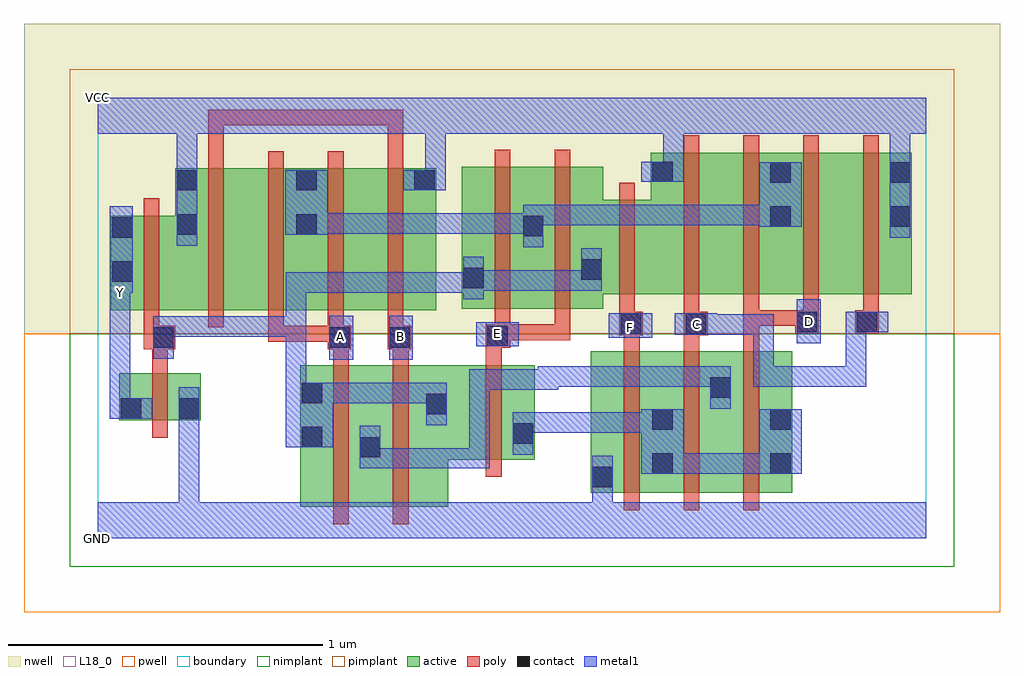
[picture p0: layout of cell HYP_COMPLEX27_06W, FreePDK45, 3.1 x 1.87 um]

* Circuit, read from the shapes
.subckt HYP_COMPLEX27_06W A B C D E F GND VCC Y
M1 GND n1 Y VSUBS nfet w=0.15u l=0.05u
M2 n2 A n1 VSUBS nfet w=0.45u l=0.05u
M3 n1 B n2 VSUBS nfet w=0.45u l=0.05u
M4 n3 E n1 VSUBS nfet w=0.3u l=0.05u
M5 n3 F GND VSUBS nfet w=0.45u l=0.05u
M6 n2 C n3 VSUBS nfet w=0.45u l=0.05u
M7 n3 D n2 VSUBS nfet w=0.45u l=0.05u
M8 VCC n1 Y n4 pfet w=0.3u l=0.05u
M9 n5 B VCC n4 pfet w=0.45u l=0.05u
M10 n6 A n5 n4 pfet w=0.45u l=0.05u
M11 n7 A n6 n4 pfet w=0.45u l=0.05u
M12 VCC B n7 n4 pfet w=0.45u l=0.05u
M13 n6 E n1 n4 pfet w=0.45u l=0.05u m=2
M14 VCC F n1 n4 pfet w=0.3u l=0.05u
M15 n8 C VCC n4 pfet w=0.45u l=0.05u
M16 n6 D n8 n4 pfet w=0.45u l=0.05u
M17 n9 D n6 n4 pfet w=0.45u l=0.05u
M18 VCC C n9 n4 pfet w=0.45u l=0.05u
.ends

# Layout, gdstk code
import gdstk
lib = gdstk.Library(unit=1e-6, precision=1e-09)
def R(c, l, rs):  # rectangles x0, y0, x1, y1
    for r in rs: c.add(gdstk.rectangle(r[:2], r[2:], *l))
def A(c, l, x, y, w, h, nx, ny, dx, dy):  # array of equal rectangles
    R(c, l, [(x+i*dx, y+j*dy, x+i*dx+w, y+j*dy+h) for i in range(nx) for j in range(ny)])
active = (1, 0)
pwell = (2, 0)
nwell = (3, 0)
nimplant = (4, 0)
pimplant = (5, 0)
poly = (9, 0)
contact = (10, 0)
metal1 = (11, 0)
L18_0 = (18, 0)
boundary = (235, 0)

hyp_complex27_06w = lib.new_cell('HYP_COMPLEX27_06W')
R(hyp_complex27_06w, active, [(0.642,0.1,0.902,0.55), (0.827,0.1,1.112,0.55), (0.642,0.145,0.717,0.55), (0.827,0.145,0.902,0.542), (1.565,0.145,1.64,0.595), (1.565,0.145,1.83,0.595), (1.755,0.145,1.83,0.542), (1.755,0.145,2.015,0.595), (1.94,0.145,2.205,0.595), (1.94,0.145,2.015,0.542), (2.13,0.145,2.205,0.595), (1.037,0.25,1.387,0.55), (1.312,0.25,1.387,0.55), (1.037,0.295,1.112,0.465), (0.067,0.375,0.142,0.525), (0.067,0.375,0.327,0.525), (0.252,0.375,0.327,0.525), (0.04,0.725,0.115,1.025), (0.04,0.725,0.32,1.025), (0.245,0.725,0.32,1.175), (0.245,0.725,0.47,1.175), (0.47,0.725,0.7,1.175), (0.625,0.725,0.85,1.175), (0.85,0.725,1.075,1.175), (1.155,0.73,1.42,1.18), (1.155,0.73,1.23,1.047), (1.345,0.73,1.605,1.18), (0.625,0.732,0.7,1.175), (1.53,0.775,1.83,1.075), (1.755,0.775,1.98,1.225), (1.98,0.775,2.205,1.225), (2.13,0.775,2.36,1.225), (2.13,0.775,2.205,1.2), (2.36,0.775,2.585,1.225), (2.51,0.775,2.585,1.225), (1.53,0.817,1.605,1.07), (1,0.857,1.075,1.175), (1.345,0.857,1.42,1.155), (1.755,0.86,1.83,1.202)])
R(hyp_complex27_06w, pwell, [(-0.235,-0.235,2.865,0.65)])
R(hyp_complex27_06w, nwell, [(-0.235,0.65,2.865,1.635)])
R(hyp_complex27_06w, nimplant, [(-0.09,-0.09,2.72,0.65)])
R(hyp_complex27_06w, pimplant, [(-0.09,0.65,2.72,1.49)])
A(hyp_complex27_06w, poly, 1.67, 0.09, 0.05, 0.56, 3, 1, 0.19, 0)
A(hyp_complex27_06w, poly, 0.54, 0.625, 0.05, 0.095, 3, 1, 0.19, 0)
A(hyp_complex27_06w, poly, 0.35, 0.67, 0.05, 0.56, 4, 1, 0.19, 0)
A(hyp_complex27_06w, poly, 2.05, 0.675, 0.05, 0.095, 3, 1, 0.19, 0)
A(hyp_complex27_06w, poly, 1.86, 0.72, 0.05, 0.56, 4, 1, 0.19, 0)
R(hyp_complex27_06w, poly, [(0.747,0.045,0.797,0.605), (0.937,0.045,0.987,0.605), (1.232,0.195,1.282,0.605), (0.172,0.32,0.222,0.58), (0.172,0.53,0.222,0.65), (0.747,0.555,0.797,0.65), (0.937,0.555,0.987,0.65), (1.232,0.555,1.282,0.655), (0.145,0.6,0.245,0.675), (0.73,0.6,0.805,0.675), (0.92,0.6,0.995,0.675), (1.67,0.6,1.72,0.695), (1.86,0.6,1.91,0.695), (2.05,0.6,2.1,0.725), (1.232,0.605,1.31,0.68), (0.145,0.625,0.195,0.72), (0.54,0.625,0.59,0.675), (0.54,0.625,0.59,0.675), (0.54,0.625,0.59,0.675), (0.54,0.625,0.78,0.675), (1.26,0.63,1.31,0.725), (1.26,0.63,1.31,0.68), (1.26,0.63,1.31,0.68), (1.26,0.63,1.5,0.68), (1.45,0.63,1.5,0.725), (1.45,0.63,1.5,0.68), (1.655,0.645,1.73,0.72), (1.86,0.645,1.937,0.72), (2.215,0.65,2.29,0.725), (2.405,0.65,2.48,0.725), (0.145,0.67,0.195,1.08), (1.655,0.67,1.705,0.77), (1.86,0.67,1.91,0.77), (1.26,0.675,1.31,1.235), (1.45,0.675,1.5,1.235), (2.05,0.675,2.265,0.725), (2.05,0.675,2.1,0.725), (2.05,0.675,2.1,0.725), (2.05,0.675,2.1,0.725), (1.655,0.72,1.705,1.13), (0.35,1.18,0.4,1.362), (0.92,1.18,0.97,1.362), (0.35,1.312,0.4,1.362), (0.35,1.312,0.4,1.362), (0.35,1.312,0.4,1.362), (0.35,1.312,0.59,1.362), (0.54,1.312,0.59,1.362), (0.54,1.312,0.59,1.362), (0.54,1.312,0.59,1.362), (0.54,1.312,0.722,1.362), (0.672,1.312,0.722,1.362), (0.672,1.312,0.97,1.362), (0.92,1.312,0.97,1.362), (0.92,1.312,0.97,1.362), (0.92,1.312,0.97,1.362)])
R(hyp_complex27_06w, contact, [(1.57,0.162,1.635,0.227), (1.76,0.205,1.825,0.27), (2.135,0.205,2.2,0.27), (0.832,0.257,0.897,0.322), (0.647,0.29,0.712,0.355), (1.317,0.3,1.382,0.365), (1.76,0.345,1.825,0.41), (2.135,0.345,2.2,0.41), (0.072,0.38,0.137,0.445), (0.257,0.38,0.322,0.445), (1.042,0.395,1.107,0.46), (0.647,0.43,0.712,0.495), (1.945,0.447,2.01,0.512), (0.175,0.605,0.24,0.67), (0.735,0.605,0.8,0.67), (0.925,0.605,0.99,0.67), (1.237,0.61,1.302,0.675), (1.66,0.65,1.725,0.715), (1.867,0.65,1.932,0.715), (2.22,0.655,2.285,0.72), (2.41,0.655,2.475,0.72), (1.16,0.795,1.225,0.86), (0.045,0.815,0.11,0.88), (1.535,0.822,1.6,0.887), (0.045,0.955,0.11,1.02), (1.35,0.96,1.415,1.025), (0.25,0.965,0.315,1.03), (0.63,0.965,0.695,1.03), (2.135,0.99,2.2,1.055), (2.515,0.99,2.58,1.055), (0.25,1.105,0.315,1.17), (0.63,1.105,0.695,1.17), (1.005,1.105,1.07,1.17), (2.135,1.13,2.2,1.195), (2.515,1.13,2.58,1.195), (1.76,1.132,1.825,1.197)])
R(hyp_complex27_06w, metal1, [(0,0,2.63,0.115), (0.257,0.05,0.322,0.115), (0.257,0.05,0.322,0.115), (0.257,0.05,0.322,0.115), (0.257,0.05,0.322,0.115), (0.257,0.05,0.322,0.115), (0.257,0.05,0.322,0.115), (0.257,0.05,0.322,0.41), (1.57,0.05,1.635,0.115), (1.57,0.05,1.635,0.115), (1.57,0.05,1.635,0.192), (1.57,0.127,1.635,0.262), (1.725,0.205,1.86,0.41), (1.795,0.205,1.997,0.27), (1.932,0.205,1.997,0.27), (1.932,0.205,1.997,0.27), (1.932,0.205,1.997,0.27), (1.932,0.205,2.147,0.27), (2.082,0.205,2.147,0.27), (2.082,0.205,2.165,0.27), (2.1,0.205,2.235,0.41), (0.832,0.222,0.897,0.287), (0.832,0.222,0.897,0.287), (0.832,0.222,1.035,0.287), (0.832,0.222,0.897,0.357), (0.97,0.222,1.035,0.287), (0.97,0.222,1.245,0.287), (1.18,0.222,1.245,0.287), (1.18,0.222,1.245,0.537), (1.317,0.265,1.382,0.4), (0.597,0.29,0.747,0.495), (1.317,0.335,1.382,0.4), (1.317,0.335,1.382,0.4), (1.317,0.335,1.6,0.4), (1.535,0.335,1.6,0.4), (1.535,0.335,1.6,0.4), (1.535,0.335,1.6,0.4), (1.535,0.335,1.79,0.4), (0.257,0.345,0.322,0.48), (1.042,0.36,1.107,0.495), (0.037,0.38,0.172,0.445), (0.037,0.38,0.102,0.777), (1.945,0.412,2.01,0.547), (0.597,0.43,0.662,0.705), (0.682,0.43,0.76,0.495), (0.695,0.43,0.76,0.495), (0.695,0.43,0.897,0.495), (0.832,0.43,0.897,0.495), (0.832,0.43,0.897,0.495), (0.832,0.43,0.897,0.495), (0.832,0.43,1.107,0.495), (1.18,0.472,1.245,0.537), (1.18,0.472,1.245,0.537), (1.18,0.472,1.245,0.537), (1.18,0.472,1.462,0.537), (1.397,0.472,1.462,0.547), (1.397,0.482,1.462,0.547), (1.397,0.482,1.462,0.547), (1.397,0.482,1.652,0.547), (1.587,0.482,1.652,0.547), (1.587,0.482,1.652,0.547), (1.587,0.482,1.652,0.547), (1.587,0.482,1.79,0.547), (1.725,0.482,1.79,0.547), (1.725,0.482,1.79,0.547), (1.725,0.482,1.79,0.547), (1.725,0.482,2.01,0.547), (2.082,0.482,2.147,0.547), (2.082,0.482,2.302,0.547), (2.082,0.482,2.147,0.712), (2.237,0.482,2.302,0.547), (2.237,0.482,2.44,0.547), (2.375,0.482,2.44,0.547), (2.375,0.482,2.44,0.72), (0.735,0.567,0.81,0.707), (0.925,0.567,1,0.707), (0.175,0.57,0.24,0.705), (1.202,0.61,1.337,0.687), (2.22,0.62,2.295,0.76), (1.622,0.637,1.76,0.715), (0.175,0.64,0.24,0.705), (0.175,0.64,0.24,0.705), (0.175,0.64,0.377,0.705), (0.312,0.64,0.377,0.705), (0.312,0.64,0.522,0.705), (0.457,0.64,0.522,0.705), (0.457,0.64,0.522,0.705), (0.457,0.64,0.522,0.705), (0.457,0.64,0.662,0.705), (0.597,0.64,0.662,0.705), (0.597,0.64,0.662,0.845), (1.832,0.647,1.967,0.715), (1.902,0.647,1.997,0.712), (1.932,0.647,1.997,0.712), (1.932,0.647,2.147,0.712), (2.082,0.647,2.147,0.712), (2.082,0.647,2.147,0.712), (2.082,0.647,2.147,0.712), (2.375,0.655,2.44,0.72), (2.375,0.655,2.44,0.72), (2.375,0.655,2.51,0.72), (0.037,0.712,0.102,0.847), (1.16,0.76,1.225,0.895), (0.037,0.78,0.11,1.055), (0.597,0.78,0.662,0.845), (0.597,0.78,0.662,0.845), (0.597,0.78,0.662,0.845), (0.597,0.78,0.885,0.845), (0.82,0.78,0.885,0.845), (0.82,0.78,1.035,0.845), (0.97,0.78,1.035,0.845), (0.97,0.78,1.035,0.845), (0.97,0.78,1.035,0.845), (0.97,0.78,1.225,0.845), (0.037,0.782,0.102,0.847), (1.16,0.787,1.245,0.852), (1.18,0.787,1.245,0.852), (1.18,0.787,1.462,0.852), (1.397,0.787,1.462,0.852), (1.397,0.787,1.462,0.852), (1.397,0.787,1.462,0.852), (1.397,0.787,1.6,0.852), (1.535,0.787,1.6,0.922), (1.35,0.925,1.415,1.06), (0.25,0.93,0.315,1.205), (2.515,0.955,2.58,1.23), (0.595,0.965,0.73,1.17), (0.665,0.967,0.73,1.032), (0.665,0.967,0.73,1.032), (0.665,0.967,0.897,1.032), (0.832,0.967,0.897,1.032), (0.832,0.967,1.085,1.032), (1.02,0.967,1.085,1.032), (1.02,0.967,1.085,1.032), (1.02,0.967,1.085,1.032), (1.02,0.967,1.245,1.032), (1.18,0.967,1.245,1.032), (1.18,0.967,1.245,1.032), (1.18,0.967,1.245,1.032), (1.18,0.967,1.415,1.032), (2.1,0.99,2.235,1.195), (1.35,0.995,1.415,1.06), (1.35,0.995,1.415,1.06), (1.35,0.995,1.652,1.06), (1.587,0.995,1.652,1.06), (1.587,0.995,1.652,1.06), (1.587,0.995,1.652,1.06), (1.587,0.995,1.86,1.06), (1.795,0.995,1.86,1.06), (1.795,0.995,1.86,1.06), (1.795,0.995,1.86,1.06), (1.795,0.995,2.01,1.06), (1.945,0.995,2.01,1.06), (1.945,0.995,2.01,1.06), (1.945,0.995,2.01,1.06), (1.945,0.995,2.147,1.06), (2.082,0.995,2.147,1.06), (2.082,0.995,2.165,1.06), (0.97,1.105,1.105,1.17), (1.04,1.105,1.105,1.17), (1.04,1.105,1.105,1.17), (1.04,1.105,1.105,1.35), (1.725,1.132,1.86,1.197), (1.795,1.132,1.86,1.197), (1.795,1.132,1.86,1.197), (1.795,1.132,1.86,1.35), (0.25,1.14,0.315,1.205), (0.25,1.14,0.315,1.205), (0.25,1.14,0.315,1.35), (2.515,1.165,2.58,1.23), (2.515,1.165,2.58,1.23), (2.515,1.165,2.58,1.35), (0,1.285,2.63,1.4)])
R(hyp_complex27_06w, L18_0, [(0,0,2.63,0.115), (0.257,0.05,0.322,0.115), (0.257,0.05,0.322,0.115), (0.257,0.05,0.322,0.115), (0.257,0.05,0.322,0.115), (0.257,0.05,0.322,0.115), (0.257,0.05,0.322,0.115), (0.257,0.05,0.322,0.41), (1.57,0.05,1.635,0.115), (1.57,0.05,1.635,0.115), (1.57,0.05,1.635,0.192), (1.57,0.127,1.635,0.262), (0.257,0.345,0.322,0.48), (0.037,0.38,0.172,0.445), (0.037,0.38,0.102,0.777), (2.082,0.482,2.147,0.547), (2.082,0.482,2.147,0.712), (2.082,0.482,2.302,0.547), (2.237,0.482,2.302,0.547), (2.237,0.482,2.44,0.547), (2.375,0.482,2.44,0.547), (2.375,0.482,2.44,0.72), (0.735,0.567,0.81,0.707), (0.925,0.567,1,0.707), (0.737,0.607,0.802,0.672), (0.927,0.607,0.992,0.672), (1.202,0.61,1.337,0.687), (1.237,0.617,1.302,0.682), (2.22,0.62,2.295,0.76), (1.622,0.637,1.76,0.715), (1.657,0.637,1.722,0.702), (1.832,0.647,1.967,0.715), (1.867,0.647,1.932,0.712), (1.902,0.647,1.997,0.712), (1.932,0.647,1.997,0.712), (1.932,0.647,2.147,0.712), (2.082,0.647,2.147,0.712), (2.082,0.647,2.147,0.712), (2.082,0.647,2.147,0.712), (2.375,0.655,2.51,0.72), (2.375,0.655,2.44,0.72), (2.375,0.655,2.44,0.72), (2.227,0.657,2.292,0.722), (0.037,0.712,0.102,0.847), (0.037,0.747,0.102,0.812), (0.037,0.78,0.11,1.055), (0.037,0.782,0.102,0.847), (0.25,0.93,0.315,1.205), (2.515,0.955,2.58,1.23), (0.97,1.105,1.105,1.17), (1.04,1.105,1.105,1.17), (1.04,1.105,1.105,1.17), (1.04,1.105,1.105,1.35), (1.725,1.132,1.86,1.197), (1.795,1.132,1.86,1.197), (1.795,1.132,1.86,1.197), (1.795,1.132,1.86,1.35), (0.25,1.14,0.315,1.205), (0.25,1.14,0.315,1.205), (0.25,1.14,0.315,1.35), (2.515,1.165,2.58,1.23), (2.515,1.165,2.58,1.23), (2.515,1.165,2.58,1.35), (0,1.285,2.63,1.4)])
R(hyp_complex27_06w, boundary, [(0,0,2.63,1.4)])
hyp_complex27_06w.add(gdstk.Label('A', (0.77,0.64), layer=11, texttype=0))
hyp_complex27_06w.add(gdstk.Label('B', (0.96,0.64), layer=11, texttype=0))
hyp_complex27_06w.add(gdstk.Label('C', (1.9,0.68), layer=11, texttype=0))
hyp_complex27_06w.add(gdstk.Label('D', (2.26,0.69), layer=11, texttype=0))
hyp_complex27_06w.add(gdstk.Label('E', (1.27,0.65), layer=11, texttype=0))
hyp_complex27_06w.add(gdstk.Label('F', (1.69,0.67), layer=11, texttype=0))
hyp_complex27_06w.add(gdstk.Label('Y', (0.07,0.78), layer=11, texttype=0))
hyp_complex27_06w.add(gdstk.Label('VCC', (0,1.4), layer=11, texttype=0))
hyp_complex27_06w.add(gdstk.Label('GND', (0,0), layer=11, texttype=0))

lib.write_gds('HYP_COMPLEX27_06W.gds')
